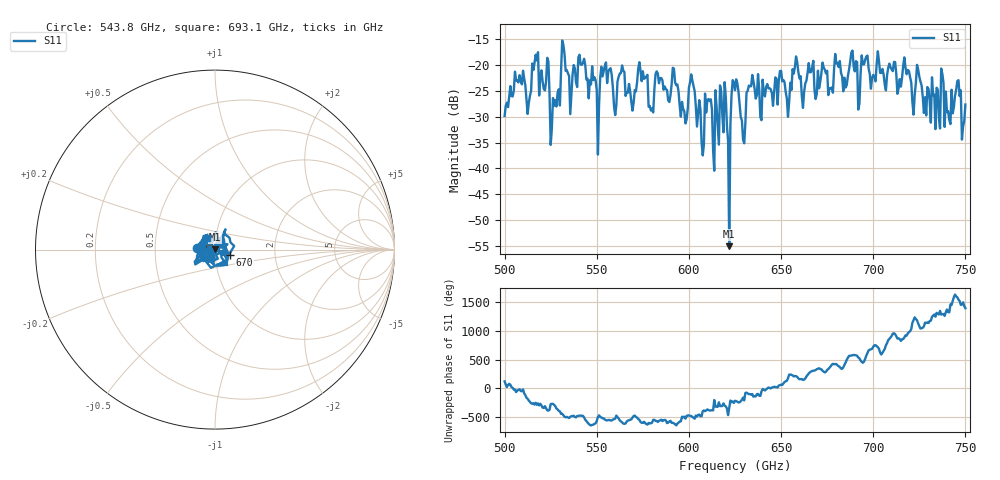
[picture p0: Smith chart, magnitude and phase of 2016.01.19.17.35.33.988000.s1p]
!Created with skrf (http://scikit-rf.org).
# GHz S RI R 50.0
!freq ReS11 ImS11
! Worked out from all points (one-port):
!   401 points, 500 GHz to 750 GHz, reference 50 ohm
!   lowest |S11| = -55.0 dB at 621.9 GHz (marker M1), VSWR 1.00, Z = 50.2 + j0.0785 ohm
!   |S11| at or under -10 dB: start of sweep to end of sweep
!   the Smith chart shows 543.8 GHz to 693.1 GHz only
!   S11 on the Smith chart (normalised r, x): 543.8 GHz: 0.82, +0.01; 670 GHz: 1.18, -0.07; 693.1 GHz: 0.90, +0.12
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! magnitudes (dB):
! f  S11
! 500 GHz  -29.9
! 506.9 GHz  -23.0
! 513.1 GHz  -27.3
! 516.9 GHz  -18.1
! 526.2 GHz  -26.4
! 531.2 GHz  -15.3
! 543.8 GHz  -20.0
! 550 GHz  -24.9
! 553.8 GHz  -21.2
! 562.5 GHz  -21.7
! 576.2 GHz  -22.5
! 579.4 GHz  -28.8
! 583.1 GHz  -21.7
! 593.8 GHz  -23.8
! 598.1 GHz  -31.3
! 601.9 GHz  -23.1
! 606.9 GHz  -35.0
! 618.1 GHz  -29.7
! 621.9 GHz  -55.0
! 625 GHz  -24.9
! 629.4 GHz  -34.5
! 633.8 GHz  -24.1
! 656.2 GHz  -20.9
! 670 GHz  -21.1
! 687.5 GHz  -19.4
! 693.1 GHz  -21.8
! 718.8 GHz  -21.0
! 750 GHz  -27.7
